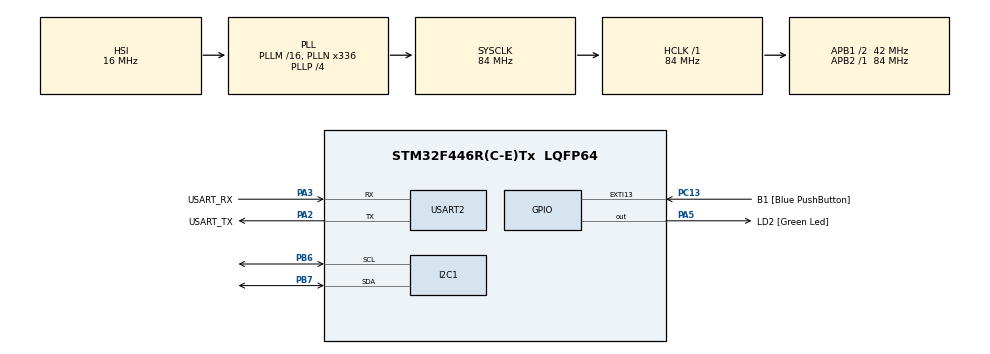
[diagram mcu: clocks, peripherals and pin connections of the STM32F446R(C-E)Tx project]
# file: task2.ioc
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Mcu.Family=STM32F4
Mcu.Name=STM32F446R(C-E)Tx
Mcu.Package=LQFP64
NVIC.PriorityGroup=NVIC_PRIORITYGROUP_0
PA13.GPIO_Label=TMS
PA13.Mode=Serial_Wire
PA13.Signal=SYS_JTMS-SWDIO
PA14.GPIO_Label=TCK
PA14.Mode=Serial_Wire
PA14.Signal=SYS_JTCK-SWCLK
PA2.GPIO_Label=USART_TX
PA2.Mode=Asynchronous
PA2.Signal=USART2_TX
PA3.GPIO_Label=USART_RX
PA3.Mode=Asynchronous
PA3.Signal=USART2_RX
PA5.GPIO_Label=LD2 [Green Led]
PA5.Signal=GPIO_Output
PB3.GPIO_Label=SWO
PB3.Signal=SYS_JTDO-SWO
PB6.Mode=I2C
PB6.Signal=I2C1_SCL
PB7.Mode=I2C
PB7.Signal=I2C1_SDA
PC13.GPIO_Label=B1 [Blue PushButton]
PC13.GPIO_ModeDefaultEXTI=GPIO_MODE_IT_FALLING
PC13.Signal=GPXTI13
PC14-OSC32_IN.Mode=LSE-External-Oscillator
PC14-OSC32_IN.Signal=RCC_OSC32_IN
PC15-OSC32_OUT.Mode=LSE-External-Oscillator
PC15-OSC32_OUT.Signal=RCC_OSC32_OUT
PH0-OSC_IN.Mode=HSE-External-Oscillator
PH0-OSC_IN.Signal=RCC_OSC_IN
PH1-OSC_OUT.Mode=HSE-External-Oscillator
PH1-OSC_OUT.Signal=RCC_OSC_OUT
ProjectManager.HeapSize=0x200
ProjectManager.StackSize=0x400
ProjectManager.TargetToolchain=STM32CubeIDE
RCC.48MHZClocksFreq_Value=84000000
RCC.AHBFreq_Value=84000000
RCC.APB1CLKDivider=RCC_HCLK_DIV2
RCC.APB1Freq_Value=42000000
RCC.APB1TimFreq_Value=84000000
RCC.APB2Freq_Value=84000000
RCC.APB2TimFreq_Value=84000000
RCC.CortexFreq_Value=84000000
RCC.FLatency-AdvancedSettings=FLASH_LATENCY_2
RCC.HCLKFreq_Value=84000000
RCC.HSE_VALUE=8000000
RCC.HSI_VALUE=16000000
RCC.PLLN=336
RCC.PLLP=RCC_PLLP_DIV4
RCC.SYSCLKFreq_VALUE=84000000
RCC.SYSCLKSource=RCC_SYSCLKSOURCE_PLLCLK
RCC.USBFreq_Value=168000000
RCC.VCOOutputFreq_Value=336000000
USART2.VirtualMode=VM_ASYNC
board=NUCLEO-F446RE

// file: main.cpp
/* USER CODE BEGIN Header */
/**
  ******************************************************************************
  * @file           : main.c
  * @brief          : Main program body
  ******************************************************************************
  * @attention
  *
  * Copyright (c) 2023 STMicroelectronics.
  * All rights reserved.
  *
  * This software is licensed under terms that can be found in the LICENSE file
  * in the root directory of this software component.
  * If no LICENSE file comes with this software, it is provided AS-IS.
  *
  ******************************************************************************
  */
/* USER CODE END Header */
#include "main.h"
#include <iostream>
#include <string>
#include <string.h>
#include <vector>
using namespace std;

/* USER CODE BEGIN PD */
#define LCD_ADDR (0x27 << 1)       // адрес дисплея, сдвинутый на 1 бит влево (HAL работает с I2C-адресами, сдвинутыми на 1 бит влево)

#define PIN_RS    (1 << 0)         // если на ножке 0, данные воспринимаются как команда, если 1 - как символы для вывода
#define PIN_EN    (1 << 2)         // бит, по изменению сост. которого считывается информация
#define BACKLIGHT (1 << 3)         // управление подсветкой

#define LCD_DELAY_MS 5             // пауза перед высвечиванием символа
/* USER CODE END PD */

I2C_HandleTypeDef hi2c1;

UART_HandleTypeDef huart2;

void SystemClock_Config(void);
static void MX_GPIO_Init(void);
static void MX_USART2_UART_Init(void);
static void MX_I2C1_Init(void);

/* USER CODE BEGIN 0 */

double memory_array[100];

// функция для отправки данных, data - сами данные, flags - 1 (отправка данных) или 0 (отправка команд)
void I2C_send(uint8_t data, uint8_t flags)
{
	HAL_StatusTypeDef res;
	    for(;;) {                                                                     // бесконечный цикл
	        res = HAL_I2C_IsDeviceReady(&hi2c1, LCD_ADDR, 1, HAL_MAX_DELAY);          // проверяем, готово ли устройство по адресу lcd_addr для связи
	        if(res == HAL_OK) break;                                                  // если да, то выходим из бесконечного цикла
	    }

	uint8_t up = data & 0xF0;                 // операция И с 1111 0000, приводит к обнулению последних бит с 0 по 3, остаются биты с 4 по 7
	uint8_t lo = (data << 4) & 0xF0;          // тоже самое, но data сдвигается на 4 бита влево, т.е. в этой
	                                           // переменной остаются  биты с 0 по 3
	uint8_t data_arr[4];
	data_arr[0] = up|flags|BACKLIGHT|PIN_EN;  // 4-7 биты содержат информацию, биты 0-3 конфигурируют работу
	data_arr[1] = up|flags|BACKLIGHT;         // ублирование сигнала, на выводе Е в этот раз 0
	data_arr[2] = lo|flags|BACKLIGHT|PIN_EN;
	data_arr[3] = lo|flags|BACKLIGHT;

	HAL_I2C_Master_Transmit(&hi2c1, LCD_ADDR, data_arr, sizeof(data_arr), HAL_MAX_DELAY);
	HAL_Delay(LCD_DELAY_MS);
}

void LCD_SendString(char *str)
{
    // *char по сути является строкой
	while(*str) {                                   // пока строчка не закончится
		I2C_send((uint8_t)(*str), 1);               // передача первого символа строки
        str++;                                      // сдвиг строки налево на 1 символ
    }
}

//парсер. Пока void, но позже над этим подумаю
vector<string> parser(std::string pre_parser)
{
	std::vector<std::string> after_parser;

	//поиск команды в введенной строке (че надо сделать: сложить, вычесть, напечатать)
	for (int i = 0; i < pre_parser.size(); i++)
	{
		if ( pre_parser[i] == '(')
		{
			after_parser.push_back( pre_parser.substr(0, i) );

			string source = pre_parser.substr(i+1, pre_parser.size() - (i+2));
			char *s = new char[source.size()+1];
			strcpy(s, source.c_str());
			char *splited_data = strtok(s, ", ");
			while (splited_data != NULL)
			{
				after_parser.push_back(splited_data);
				splited_data = strtok(NULL, ", ");
			}
			delete[] s;

			break;
		}
	}

return after_parser;

}

//функция, выводящая на дисплей строку
void print_str(vector<string> parsered_data)
{
    I2C_send(0b00110000,0);   // 8ми битный интерфейс
    I2C_send(0b00000010,0);   // установка курсора в начале строки
    I2C_send(0b00001100,0);   // нормальный режим работы
    I2C_send(0b00000001,0);   // очистка дисплея

    char *s = new char[parsered_data[2].size() + 1];
	strcpy(s, parsered_data[2].c_str());

	switch (stoi(parsered_data[1]))
	{
		case 1:
			I2C_send(0b10000000,0);   // переход на 1 строку
			LCD_SendString(s);
			break;
		case 2:
		    I2C_send(0b11000000,0);   // переход на 2 строку
			LCD_SendString(s);
			break;
		case 3:
		    I2C_send(0b10010100,0);   // переход на 3 строку
			LCD_SendString(s);
			break;
		case 4:
		    I2C_send(0b11010100,0);   // переход на 4 строку
			LCD_SendString(s);
			break;
	}
}

//функция, выводящая число, записанное в указанной ячейке массива
void print_arr(vector<string> parsered_data)
{

	I2C_send(0b00110000,0);   // 8ми битный интерфейс
	I2C_send(0b00000010,0);   // установка курсора в начале строки
	I2C_send(0b00001100,0);   // нормальный режим работы
	I2C_send(0b00000001,0);   // очистка дисплея

	char outString[100];
	memset(outString, 0, sizeof(outString));
	sprintf(outString, "arr[%d] = %f", stoi(parsered_data[2]), memory_array[stoi(parsered_data[2])]);

	switch (stoi(parsered_data[1]))
	{
		case 1:
			I2C_send(0b10000000,0);   // переход на 1 строку
			LCD_SendString(outString);
			break;
		case 2:
		    I2C_send(0b11000000,0);   // переход на 2 строку
			LCD_SendString(outString);
			break;
		case 3:
		    I2C_send(0b10010100,0);   // переход на 3 строку
			LCD_SendString(outString);
			break;
		case 4:
		    I2C_send(0b11010100,0);   // переход на 4 строку
			LCD_SendString(outString);
			break;
	}

}

//функция, находящая сумму и записывающая ее в массив
void sum(vector<string> parsered_data)
{
	memory_array[stoi(parsered_data[1])] = stod(parsered_data[2]) + stod(parsered_data[3]);
}

//функция, находящая разность и записывающая ее в массив
void diff(vector<string> parsered_data)
{
	memory_array[stoi(parsered_data[1])] = stod(parsered_data[2]) - stod(parsered_data[3]);
}

/* USER CODE END 0 */

int main(void)
{

  /* MCU Configuration--------------------------------------------------------*/

  /* Reset of all peripherals, Initializes the Flash interface and the Systick. */
	HAL_Init();

  /* Configure the system clock */
  SystemClock_Config();

  /* Initialize all configured peripherals */
  MX_GPIO_Init();
  MX_USART2_UART_Init();
  MX_I2C1_Init();
  /* USER CODE BEGIN 2 */

    I2C_send(0b00110000,0);   // 8ми битный интерфейс
    I2C_send(0b00000010,0);   // установка курсора в начале строки
    I2C_send(0b00001100,0);   // нормальный режим работы
    I2C_send(0b00000001,0);   // очистка дисплея

    //Текст заставки. Сделано по большей части потому что могу и так как то прикольнее
    I2C_send(0b10000000,0);   // переход на 1 строку, тут не обязателен
    LCD_SendString("Hello Everybody!");
    I2C_send(0b11000000,0);   // переход на 2 строку
    LCD_SendString("Welcome to the");
    I2C_send(0b10010100,0);   // переход на 3 строку
    LCD_SendString("Input - Output sys.");
    I2C_send(0b11010100,0);   // переход на 4 строку
    LCD_SendString("-enter the command-");

  /* USER CODE END 2 */

  /* Infinite loop */
  /* USER CODE BEGIN WHILE */

    char input_data_read[1];
	char input_data[100];
    int i;
    std::vector<std::string> parsered_data;

    memset(input_data, 0, sizeof(input_data)); //уж лучше путь нули точно во всей строке будут, чем что то не сильно понятное

    while (1)
    {
    	//цикл, осуществляющий запись и вывод данных
    	for(i = 0;; i++)
    	{
    		//если данные отпралены, то они все считаются и запищутся в новую переменную
			if( HAL_UART_Receive(&huart2, (uint8_t *)input_data_read, 1, 10) == HAL_OK )
			{
				input_data[i] = input_data_read[0]; //запись полученных данных в новую переменную
			}
			//вызввается, если считывание данных не прошло
			else
			{
				//если данные завершатся указанным знаком, то откроется режим вывода на дисплей
				if(input_data[i - 1] == ')')
				{
					parsered_data = parser(input_data);
					//пока так. Надо подумать как через switch case сделать в идеале
					if ( parsered_data[0] == "sum" ) sum(parsered_data);
					if ( parsered_data[0] == "print_str" ) print_str(parsered_data);
					if ( parsered_data[0] == "print_arr" ) print_arr(parsered_data);
					if ( parsered_data[0] == "diff" ) diff(parsered_data);

					HAL_UART_Transmit(&huart2, (uint8_t *)input_data, i, 3); //чисто для проверки. Удалить
					memset(input_data, 0, sizeof(input_data));
					/*выше была произведена змена всех символов нулями. Это сделано для двух целей
					 * 1. подмена завершающего символа, чтобы закрыть возможность входа в это условие и надпись осталась
					 * 2. затирание лишней информации поступающей на выход, когда последующая строка меньше предыдущей
					 * возможно потом откажусь от этого решения */
				}
				break;
			}
    	}

    /* USER CODE END WHILE */

  }
}

void SystemClock_Config(void)
{
  RCC_OscInitTypeDef RCC_OscInitStruct = {0};
  RCC_ClkInitTypeDef RCC_ClkInitStruct = {0};

  /** Configure the main internal regulator output voltage
  */
  __HAL_RCC_PWR_CLK_ENABLE();
  __HAL_PWR_VOLTAGESCALING_CONFIG(PWR_REGULATOR_VOLTAGE_SCALE3);

  /** Initializes the RCC Oscillators according to the specified parameters
  * in the RCC_OscInitTypeDef structure.
  */
  RCC_OscInitStruct.OscillatorType = RCC_OSCILLATORTYPE_HSI;
  RCC_OscInitStruct.HSIState = RCC_HSI_ON;
  RCC_OscInitStruct.HSICalibrationValue = RCC_HSICALIBRATION_DEFAULT;
  RCC_OscInitStruct.PLL.PLLState = RCC_PLL_ON;
  RCC_OscInitStruct.PLL.PLLSource = RCC_PLLSOURCE_HSI;
  RCC_OscInitStruct.PLL.PLLM = 16;
  RCC_OscInitStruct.PLL.PLLN = 336;
  RCC_OscInitStruct.PLL.PLLP = RCC_PLLP_DIV4;
  RCC_OscInitStruct.PLL.PLLQ = 2;
  RCC_OscInitStruct.PLL.PLLR = 2;
  if (HAL_RCC_OscConfig(&RCC_OscInitStruct) != HAL_OK)
  {
    Error_Handler();
  }

  /** Initializes the CPU, AHB and APB buses clocks
  */
  RCC_ClkInitStruct.ClockType = RCC_CLOCKTYPE_HCLK|RCC_CLOCKTYPE_SYSCLK
                              |RCC_CLOCKTYPE_PCLK1|RCC_CLOCKTYPE_PCLK2;
  RCC_ClkInitStruct.SYSCLKSource = RCC_SYSCLKSOURCE_PLLCLK;
  RCC_ClkInitStruct.AHBCLKDivider = RCC_SYSCLK_DIV1;
  RCC_ClkInitStruct.APB1CLKDivider = RCC_HCLK_DIV2;
  RCC_ClkInitStruct.APB2CLKDivider = RCC_HCLK_DIV1;

  if (HAL_RCC_ClockConfig(&RCC_ClkInitStruct, FLASH_LATENCY_2) != HAL_OK)
  {
    Error_Handler();
  }
}

static void MX_I2C1_Init(void)
{

  hi2c1.Instance = I2C1;
  hi2c1.Init.ClockSpeed = 100000;
  hi2c1.Init.DutyCycle = I2C_DUTYCYCLE_2;
  hi2c1.Init.OwnAddress1 = 0;
  hi2c1.Init.AddressingMode = I2C_ADDRESSINGMODE_7BIT;
  hi2c1.Init.DualAddressMode = I2C_DUALADDRESS_DISABLE;
  hi2c1.Init.OwnAddress2 = 0;
  hi2c1.Init.GeneralCallMode = I2C_GENERALCALL_DISABLE;
  hi2c1.Init.NoStretchMode = I2C_NOSTRETCH_DISABLE;
  if (HAL_I2C_Init(&hi2c1) != HAL_OK)
  {
    Error_Handler();
  }

}

static void MX_USART2_UART_Init(void)
{

  huart2.Instance = USART2;
  huart2.Init.BaudRate = 115200;
  huart2.Init.WordLength = UART_WORDLENGTH_8B;
  huart2.Init.StopBits = UART_STOPBITS_1;
  huart2.Init.Parity = UART_PARITY_NONE;
  huart2.Init.Mode = UART_MODE_TX_RX;
  huart2.Init.HwFlowCtl = UART_HWCONTROL_NONE;
  huart2.Init.OverSampling = UART_OVERSAMPLING_16;
  if (HAL_UART_Init(&huart2) != HAL_OK)
  {
    Error_Handler();
  }

}

static void MX_GPIO_Init(void)
{
  GPIO_InitTypeDef GPIO_InitStruct = {0};

  /* GPIO Ports Clock Enable */
  __HAL_RCC_GPIOC_CLK_ENABLE();
  __HAL_RCC_GPIOH_CLK_ENABLE();
  __HAL_RCC_GPIOA_CLK_ENABLE();
  __HAL_RCC_GPIOB_CLK_ENABLE();

  /*Configure GPIO pin Output Level */
  HAL_GPIO_WritePin(LD2_GPIO_Port, LD2_Pin, GPIO_PIN_RESET);

  /*Configure GPIO pin : B1_Pin */
  GPIO_InitStruct.Pin = B1_Pin;
  GPIO_InitStruct.Mode = GPIO_MODE_IT_FALLING;
  GPIO_InitStruct.Pull = GPIO_NOPULL;
  HAL_GPIO_Init(B1_GPIO_Port, &GPIO_InitStruct);

  /*Configure GPIO pin : LD2_Pin */
  GPIO_InitStruct.Pin = LD2_Pin;
  GPIO_InitStruct.Mode = GPIO_MODE_OUTPUT_PP;
  GPIO_InitStruct.Pull = GPIO_NOPULL;
  GPIO_InitStruct.Speed = GPIO_SPEED_FREQ_LOW;
  HAL_GPIO_Init(LD2_GPIO_Port, &GPIO_InitStruct);

}

void Error_Handler(void)
{
  __disable_irq();
  while (1)
  {
  }
}
